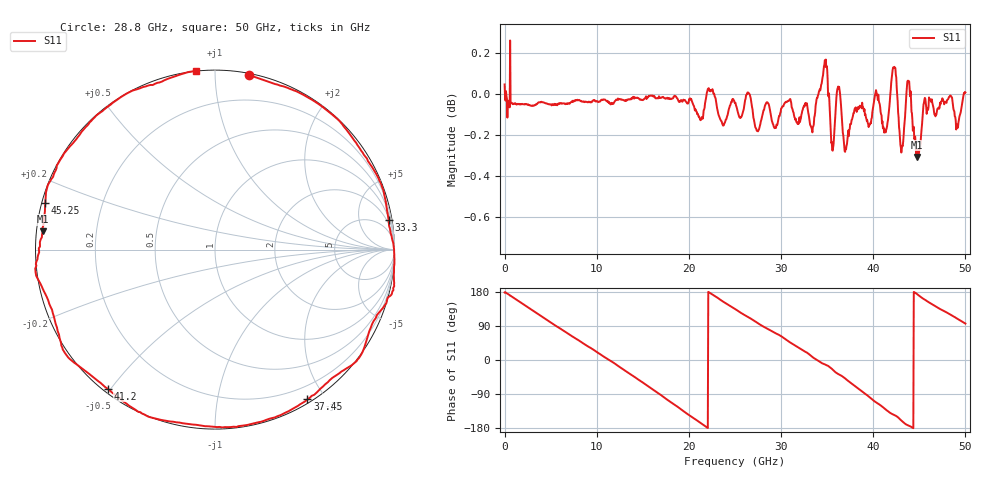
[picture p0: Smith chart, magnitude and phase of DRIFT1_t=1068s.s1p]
!Created with skrf (http://scikit-rf.org).
# Hz S RI R 50.0
!freq ReS11 ImS11
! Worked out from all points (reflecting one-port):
!   1001 points, 300 kHz to 50 GHz, reference 50 ohm
!   lowest |S11| = -0.3 dB at 44.75 GHz (marker M1), VSWR 56.78, Z = 0.883 + j2.63 ohm
!   phase of S11 starts at 178 deg and turns -802 deg over the sweep
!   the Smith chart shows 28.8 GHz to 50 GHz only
!   S11 on the Smith chart (normalised r, x): 28.8 GHz: 0.01, +1.22; 33.3 GHz: 1, +12; 37.45 GHz: 0.04, -1.79; 41.2 GHz: 0.01, -0.49; 45.25 GHz: 0.01, +0.13; 50 GHz: -0.00, +0.90
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300000  -1.005 0.0305
1.70029e9  -0.8804 0.4623
3.550279e9  -0.5299 0.8417
6.250262e9  0.1798 0.9783
7.950252e9  0.597 0.7979
9.800241e9  0.9096 0.4065
1.250022e10  0.9444 -0.3203
1.400022e10  0.7322 -0.6788
1.59002e10  0.2648 -0.9635
1.72502e10  -0.1324 -0.9892
1.875019e10  -0.5447 -0.8357
2.025018e10  -0.8606 -0.5037
2.200017e10  -1.001 -0.026
2.500015e10  -0.7008 0.7064
2.665014e10  -0.3433 0.9378
2.880013e10  0.1912 0.9724
3.125011e10  0.7327 0.6677
3.33001e10  0.9675 0.164
3.500009e10  0.9822 -0.2522
3.745008e10  0.5152 -0.8344
3.750008e10  0.5009 -0.8462
3.920006e10  -0.00522 -0.9872
4.120005e10  -0.598 -0.7746
4.375004e10  -0.9983 -0.1358
4.475003e10  -0.9601 0.1013
4.525003e10  -0.9457 0.26
4.730002e10  -0.6899 0.716
5e10  -0.1072 0.9951
